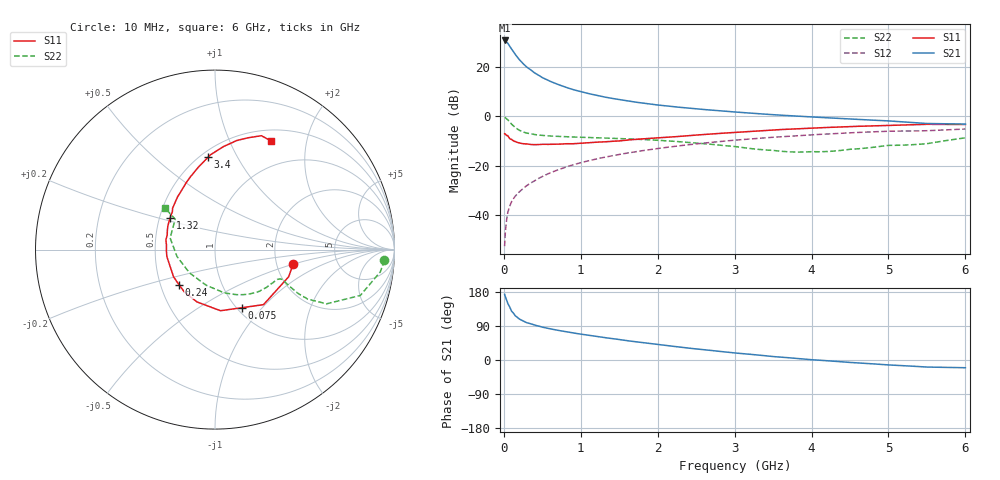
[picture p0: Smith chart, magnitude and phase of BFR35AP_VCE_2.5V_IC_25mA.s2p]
! Infineon Technologies  Discrete & RF Semiconductors
! BFR35AP
! VCE =  2.5 V,  IC =  25 mA
! Common Emitter S-Parameters:  Nov 2015
# GHz  S  MA  R  50
!  f  S11  S21  S12  S22
! GHz  MAG  ANG  MAG  ANG  MAG  ANG  MAG  ANG
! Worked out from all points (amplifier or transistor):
!   210 points, 10 MHz to 6 GHz, reference 50 ohm
!   highest |S21| = 30.5 dB at 10 MHz (marker M1)
!   |S21| within 3 dB of that: start of sweep to 90.03 MHz
!   unconditionally stable (mu >= 1): 284.1 MHz to 3.741 GHz; 5.433 GHz to 5.758 GHz
!   at 185 MHz: K = 0.85, MSG = 27.2 dB, |S12| = -31.0 dB
!   at 1.52 GHz: K = 1.15, MAG = 8.6 dB, |S12| = -15.3 dB
!   at 6 GHz: K = 0.99, MSG = 1.0 dB, |S12| = -5.2 dB
!   S11 on the Smith chart (normalised r, x): 10 MHz: 2.47, -0.50; 75 MHz: 1.06, -0.78; 240 MHz: 0.62, -0.26; 1.32 GHz: 0.57, +0.22; 3.4 GHz: 0.55, +0.77; 6 GHz: 0.64, +1.44
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0.01  0.4424 -10.6  33.59 173.2  0.0024 84.2  0.9456 -3.6
0.02  0.4376 -20.2  32.95 166.6  0.0047 82.4  0.9292 -7.7
0.05  0.4088 -48.6  29.74 149.2  0.0112 73.9  0.8493 -17.5
0.075  0.357 -65.0  25.79 140.5  0.015 69.6  0.7684 -21.3
0.1  0.342 -84.8  22.64 129.0  0.0189 67.0  0.6916 -25.9
0.15  0.3084 -108.9  17.4 116.3  0.0246 66.2  0.5859 -28.1
0.2  0.2911 -126.0  13.87 108.3  0.0297 66.3  0.5216 -27.8
0.24  0.2801 -135.7  11.9 103.9  0.0337 67.7  0.4887 -27.0
0.3  0.2758 -146.9  9.713 98.3  0.0401 68.9  0.4561 -26.0
0.4  0.2666 -161.3  7.447 92.0  0.05 70.5  0.4255 -24.6
0.5  0.271 -171.7  5.997 86.7  0.0608 71.4  0.4087 -23.9
0.6  0.2709 -178.5  5.064 82.3  0.0718 71.3  0.3986 -24.1
0.7  0.2717 174.6  4.38 78.3  0.0824 71.3  0.3917 -24.8
0.9  0.2782 163.2  3.429 71.3  0.1046 69.8  0.38 -26.7
1.02  0.2875 157.3  3.064 67.6  0.1175 69.2  0.3755 -28.3
1.32  0.3047 145.1  2.415 58.8  0.1499 66.3  0.3624 -33.1
2.02  0.3672 123.0  1.668 40.6  0.2252 58.5  0.3247 -47.9
3.1  0.4813 99.3  1.184 16.9  0.3376 44.4  0.2335 -82.9
3.4  0.5165 94.2  1.097 11.2  0.3661 40.2  0.2086 -98.4
4.1  0.5839 83.9  0.947 -0.5  0.4294 30.4  0.1918 -144.5
5.1  0.6574 72.2  0.784 -14.0  0.499 15.8  0.259 160.7
6  0.681 62.9  0.693 -20.4  0.5512 5.2  0.3662 140.2
